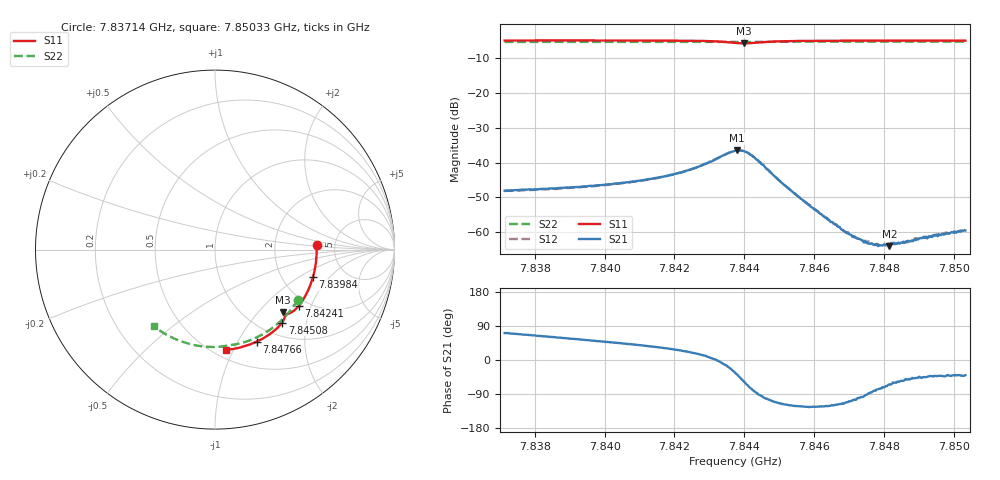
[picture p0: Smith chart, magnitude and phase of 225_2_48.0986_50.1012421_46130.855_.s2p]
#  HZ  S  RI  R  50.00
! Rohde & Schwarz Vector Network Analyzer
! Rohde-Schwarz,ZNB20-2Port,1311601062101988,3.16
! Created: UTC 12/23/2023, 3:57:11 AM
! freq[Hz]  re:S11  im:S11  re:S21  im:S21  re:S12  im:S12  re:S22  im:S22
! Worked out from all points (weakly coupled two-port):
!   401 points, 7.83714 GHz to 7.85033 GHz, reference 50 ohm
!   highest |S21| = -36.46 dB at 7.8438 GHz (marker M1); lowest = -64.0 dB at 7.84815 GHz (marker M2)
!   lowest |S11| = -5.8 dB at 7.844 GHz (marker M3), VSWR 3.13, Z = 72.6 - j68.8 ohm
!   |S11| at or under -10 dB: nowhere
!   |S22| runs from -5.4 to -5.3 dB; largest |S21 - S12| = 0.00031
!   S11 on the Smith chart (normalised r, x): 7.83714 GHz: 3.59, +0.28; 7.83984 GHz: 2.96, -1.33; 7.84241 GHz: 1.80, -1.64; 7.84508 GHz: 1.25, -1.46; 7.84766 GHz: 0.80, -1.20; 7.85033 GHz: 0.57, -0.94
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7.837139e9  0.5657 0.0268  0.00128 0.00373  0.00128 0.00368  0.4623 -0.2783
7.839348e9  0.5542 -0.1196  0.00267 0.00363  0.00263 0.00361  0.3653 -0.3983
7.839842e9  0.5462 -0.1518  0.00306 0.0036  0.00301 0.00355  0.3391 -0.4209
7.840798e9  0.5249 -0.2132  0.00401 0.00349  0.00397 0.00347  0.2845 -0.46
7.841557e9  0.502 -0.2602  0.00509 0.00337  0.00507 0.00333  0.2381 -0.4861
7.842414e9  0.468 -0.3118  0.00727 0.00285  0.00726 0.00282  0.1827 -0.5097
7.843238e9  0.4191 -0.3537  0.0115 -0.000379  0.0116 -0.000427  0.1268 -0.5256
7.843732e9  0.3838 -0.3559  0.0124 -0.00803  0.0124 -0.00805  0.0936 -0.531
7.843798e9  0.3811 -0.3537  0.0117 -0.00944  0.0116 -0.00935  0.0894 -0.5315
7.843996e9  0.3798 -0.3483  0.00784 -0.0122  0.00782 -0.0123  0.077 -0.5335
7.844293e9  0.3879 -0.3538  0.00142 -0.0117  0.0014 -0.0116  0.058 -0.537
7.845084e9  0.3741 -0.4063  -0.00219 -0.00456  -0.00219 -0.00457  0.00259 -0.5426
7.845941e9  0.3313 -0.4513  -0.00125 -0.00189  -0.00123 -0.00191  -0.0578 -0.5407
7.84693e9  0.2753 -0.4903  -0.000352 -0.000897  -0.000335 -0.00093  -0.1264 -0.5295
7.847359e9  0.2497 -0.5043  -0.000105 -0.00076  -8.07e-05 -0.000746  -0.1556 -0.5219
7.847655e9  0.2316 -0.513  6.09e-05 -0.000682  5.27e-05 -0.000677  -0.1755 -0.5158
7.847886e9  0.2176 -0.5192  0.000163 -0.000626  0.000188 -0.000627  -0.1907 -0.5105
7.84815e9  0.2011 -0.5258  0.000276 -0.000565  0.000285 -0.000571  -0.2081 -0.5037
7.848611e9  0.1718 -0.536  0.000466 -0.000557  0.000451 -0.000568  -0.2376 -0.4909
7.848941e9  0.1508 -0.5423  0.000547 -0.000588  0.00055 -0.000593  -0.2584 -0.4804
7.849732e9  0.0994 -0.554  0.000675 -0.000638  0.000735 -0.000628  -0.3061 -0.4521
7.850326e9  0.0601 -0.5592  0.000806 -0.000681  0.000814 -0.000703  -0.3397 -0.4277
